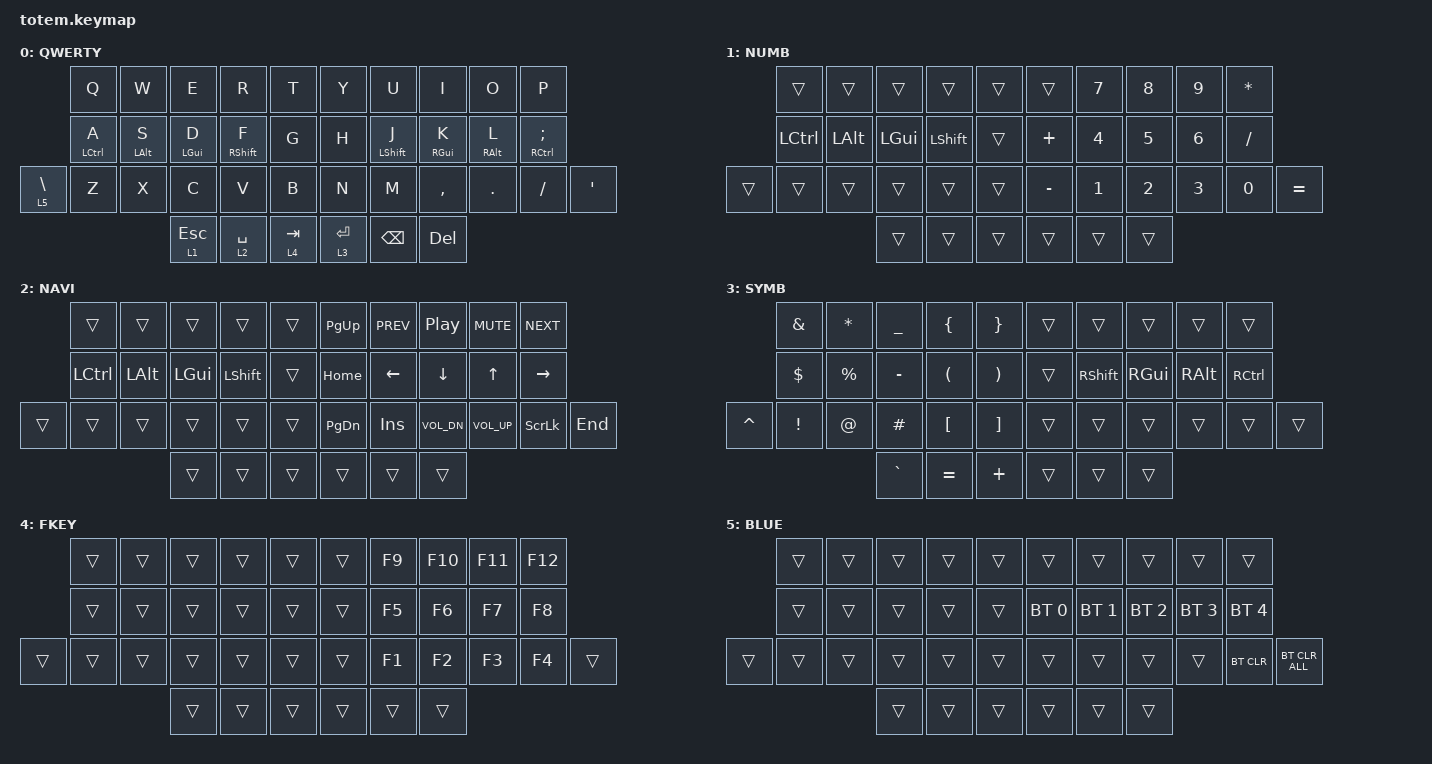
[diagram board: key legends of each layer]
//
//                                                        ▀▀▀▀▀     ▀▀▀▀▀          ▀▀█▀▀
//                                                        ▄▀▀▀▄  ▄  ▄▀▀▀▄  ▄  ▄▀▀▀▄  █  ▄▀▀▀▄
//                                                        █   █  █  █   █  █  █   █  █  █   █
//                                                         ▀▀▀   █   ▀▀▀   █   ▀▀▀   ▀   ▀▀▀
//                                                               █      ▄▄▄█▄▄▄    █   █  
//                                                               ▀      █  █  █     █▄█
//                                                             ▀▀▀▀▀    █  █  █      ▀
//                                                                      ▀  ▀  ▀
//
// ▄▄▄▄▄▄▄▄▄▄▄▄▄▄▄▄▄▄▄▄▄▄▄▄▄▄▄▄▄▄▄▄▄▄▄▄▄▄▄▄▄▄▄▄▄▄▄▄▄▄▄▄▄▄▄▄▄▄▄▄▄▄▄▄▄▄▄▄▄▄▄▄▄▄▄▄▄▄▄▄▄▄▄▄▄▄▄▄▄▄▄▄▄▄▄▄▄▄▄▄▄▄▄▄▄▄▄▄▄▄▄▄▄▄▄▄▄▄▄▄▄▄▄▄▄▄▄▄▄▄▄▄▄▄▄▄▄▄▄▄▄▄▄▄▄▄▄▄▄
       

#include <behaviors.dtsi>
#include <dt-bindings/zmk/keys.h>
#include <dt-bindings/zmk/bt.h>
#include <dt-bindings/zmk/outputs.h>

/ {
    behaviors {
        hmrw_l: hmrw_l {
            compatible = "zmk,behavior-hold-tap";
            label = "HMRW_L";
            bindings = <&kp>, <&kp>;

            #binding-cells = <2>;
            tapping-term-ms = <170>;
            quick-tap-ms = <100>;
            flavor = "tap-preferred";
            hold-trigger-key-positions = <5 6 7 8 9 31 5 8 9 15 16 17 18 19 26 27 28 29 30 31 35 36 37>;
        };

        hmrw_r: hmrw_r {
            compatible = "zmk,behavior-hold-tap";
            label = "HMRW_R";
            bindings = <&kp>, <&kp>;

            #binding-cells = <2>;
            tapping-term-ms = <170>;
            quick-tap-ms = <100>;
            flavor = "tap-preferred";
            hold-trigger-key-positions = <0 1 2 3 4 10 11 12 13 14 20 21 22 23 24 25 32 33 34>;
        };

        caps_word: caps_word {
            compatible = "zmk,behavior-caps-word";
            label = "CAPS_WORD";
            #binding-cells = <0>;
            continue-list = <A B C D E F G H I J K L M N O P Q R S T U V W X Y Z>;
        };
    };

    combos {
        compatible = "zmk,combos";

        caps_word {
            bindings = <&caps_word>;
            key-positions = <25 26>;
            timeout-ms = <0>;
            layers = <0>;
        };
    };

    keymap {
        compatible = "zmk,keymap";

        base_layer {
            bindings = <
                 &kp Q            &kp W               &kp E           &kp R             &kp T        &kp Y        &kp U             &kp I           &kp O           &kp P
                 &hmrw_l LCTRL A  &hmrw_l LEFT_ALT S  &hmrw_l LGUI D  &hmrw_l RSHIFT F  &kp G        &kp H        &hmrw_r LSHIFT J  &hmrw_r RGUI K  &hmrw_r RALT L  &hmrw_r RCTRL SEMICOLON
&lt 5 BACKSLASH  &kp Z            &kp X               &kp C           &kp V             &kp B        &kp N        &kp M             &kp COMMA       &kp DOT         &kp FSLH                 &kp SQT
                                                      &lt 1 ESCAPE    &lt 2 SPACE       &lt 4 TAB    &lt 3 ENTER  &kp BSPC          &kp DEL
            >;

            label = "QWERTY";
        };

        num_layer {
            bindings = <
        &trans     &trans    &trans    &trans     &trans    &trans     &kp N7  &kp N8  &kp N9  &kp ASTERISK
        &kp LCTRL  &kp LALT  &kp LGUI  &kp LSHFT  &trans    &kp PLUS   &kp N4  &kp N5  &kp N6  &kp FSLH
&trans  &trans     &trans    &trans    &trans     &trans    &kp MINUS  &kp N1  &kp N2  &kp N3  &kp N0        &kp EQUAL
                             &trans    &trans     &trans    &trans     &trans  &trans
            >;

            label = "NUMB";
        };

        nav_layer {
            bindings = <
        &trans     &trans    &trans    &trans     &trans    &kp PG_UP  &kp C_PREV  &kp C_PP      &kp C_MUTE       &kp C_NEXT
        &kp LCTRL  &kp LALT  &kp LGUI  &kp LSHFT  &trans    &kp HOME   &kp LEFT    &kp DOWN      &kp UP           &kp RIGHT
&trans  &trans     &trans    &trans    &trans     &trans    &kp PG_DN  &kp INS     &kp C_VOL_DN  &kp C_VOLUME_UP  &kp SLCK    &kp END
                             &trans    &trans     &trans    &trans     &trans      &trans
            >;

            label = "NAVI";
        };

        sym_layer {
            bindings = <
           &kp AMPS         &kp ASTRK    &kp UNDER  &kp LEFT_BRACE        &kp RIGHT_BRACE          &trans  &trans     &trans    &trans    &trans
           &kp DOLLAR       &kp PERCENT  &kp MINUS  &kp LEFT_PARENTHESIS  &kp RIGHT_PARENTHESIS    &trans  &kp RSHFT  &kp RGUI  &kp RALT  &kp RCTRL
&kp CARET  &kp EXCLAMATION  &kp AT       &kp HASH   &kp LBKT              &kp RBKT                 &trans  &trans     &trans    &trans    &trans     &trans
                                         &kp GRAVE  &kp EQUAL             &kp PLUS                 &trans  &trans     &trans
            >;

            label = "SYMB";
        };

        fn_layer {
            bindings = <
        &trans  &trans  &trans  &trans  &trans    &trans  &kp F9  &kp F10  &kp F11  &kp F12
        &trans  &trans  &trans  &trans  &trans    &trans  &kp F5  &kp F6   &kp F7   &kp F8
&trans  &trans  &trans  &trans  &trans  &trans    &trans  &kp F1  &kp F2   &kp F3   &kp F4   &trans
                        &trans  &trans  &trans    &trans  &trans  &trans
            >;

            label = "FKEY";
        };

        bt_layer {
            bindings = <
        &trans  &trans  &trans  &trans  &trans    &trans        &trans        &trans        &trans        &trans
        &trans  &trans  &trans  &trans  &trans    &bt BT_SEL 0  &bt BT_SEL 1  &bt BT_SEL 2  &bt BT_SEL 3  &bt BT_SEL 4
&trans  &trans  &trans  &trans  &trans  &trans    &trans        &trans        &trans        &trans        &bt BT_CLR    &bt BT_CLR_ALL
                        &trans  &trans  &trans    &trans        &trans        &trans
            >;

            label = "BLUE";
        };
    };
};
